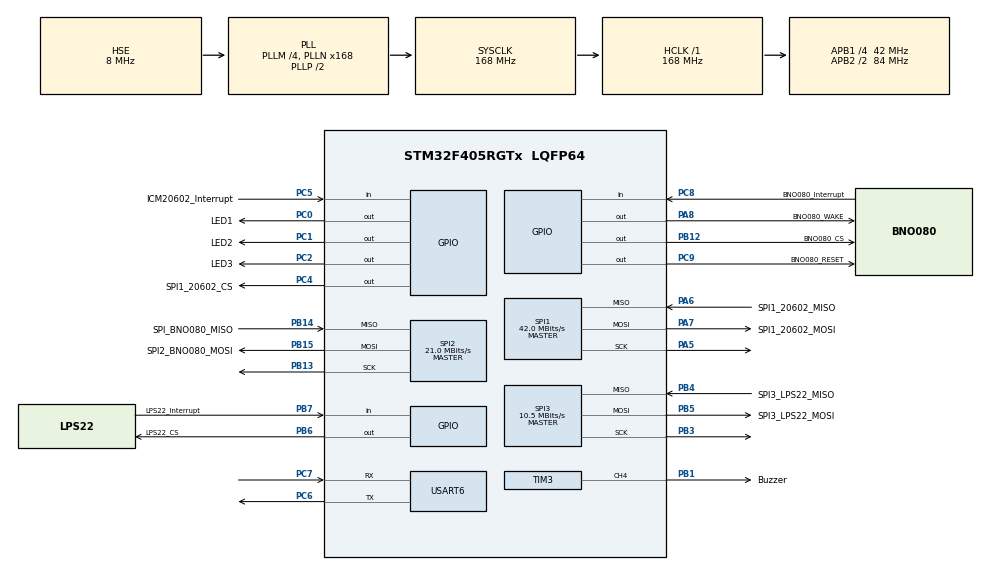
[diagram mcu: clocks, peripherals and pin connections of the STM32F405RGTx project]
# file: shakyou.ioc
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Mcu.Family=STM32F4
Mcu.Name=STM32F405RGTx
Mcu.Package=LQFP64
NVIC.PriorityGroup=NVIC_PRIORITYGROUP_4
NVIC.USART6_IRQn=true\:0\:0\:false\:false\:true\:true\:true\:true
PA5.Mode=Full_Duplex_Master
PA5.Signal=SPI1_SCK
PA6.GPIO_Label=SPI1_20602_MISO
PA6.Mode=Full_Duplex_Master
PA6.Signal=SPI1_MISO
PA7.GPIO_Label=SPI1_20602_MOSI
PA7.Mode=Full_Duplex_Master
PA7.Signal=SPI1_MOSI
PA8.GPIO_Label=BNO080_WAKE
PA8.Signal=GPIO_Output
PB1.GPIO_Label=Buzzer
PB1.Signal=S_TIM3_CH4
PB12.GPIO_Label=BNO080_CS
PB12.Signal=GPIO_Output
PB13.Mode=Full_Duplex_Master
PB13.Signal=SPI2_SCK
PB14.GPIO_Label=SPI_BNO080_MISO
PB14.Mode=Full_Duplex_Master
PB14.Signal=SPI2_MISO
PB15.GPIO_Label=SPI2_BNO080_MOSI
PB15.Mode=Full_Duplex_Master
PB15.Signal=SPI2_MOSI
PB3.Mode=Full_Duplex_Master
PB3.Signal=SPI3_SCK
PB4.GPIO_Label=SPI3_LPS22_MISO
PB4.Mode=Full_Duplex_Master
PB4.Signal=SPI3_MISO
PB5.GPIO_Label=SPI3_LPS22_MOSI
PB5.Mode=Full_Duplex_Master
PB5.Signal=SPI3_MOSI
PB6.GPIO_Label=LPS22_CS
PB6.Signal=GPIO_Output
PB7.GPIO_Label=LPS22_Interrupt
PB7.Signal=GPIO_Input
PC0.GPIO_Label=LED1
PC0.Signal=GPIO_Output
PC1.GPIO_Label=LED2
PC1.Signal=GPIO_Output
PC2.GPIO_Label=LED3
PC2.Signal=GPIO_Output
PC4.GPIO_Label=SPI1_20602_CS
PC4.Signal=GPIO_Output
PC5.GPIO_Label=ICM20602_Interrupt
PC5.Signal=GPIO_Input
PC6.Mode=Asynchronous
PC6.Signal=USART6_TX
PC7.Mode=Asynchronous
PC7.Signal=USART6_RX
PC8.GPIO_Label=BNO080_Interrupt
PC8.Signal=GPIO_Input
PC9.GPIO_Label=BNO080_RESET
PC9.Signal=GPIO_Output
PH0-OSC_IN.Mode=HSE-External-Oscillator
PH0-OSC_IN.Signal=RCC_OSC_IN
PH1-OSC_OUT.Mode=HSE-External-Oscillator
PH1-OSC_OUT.Signal=RCC_OSC_OUT
ProjectManager.HeapSize=0x200
ProjectManager.StackSize=0x400
ProjectManager.TargetToolchain=STM32CubeIDE
RCC.48MHZClocksFreq_Value=84000000
RCC.AHBFreq_Value=168000000
RCC.APB1CLKDivider=RCC_HCLK_DIV4
RCC.APB1Freq_Value=42000000
RCC.APB1TimFreq_Value=84000000
RCC.APB2CLKDivider=RCC_HCLK_DIV2
RCC.APB2Freq_Value=84000000
RCC.APB2TimFreq_Value=168000000
RCC.CortexFreq_Value=168000000
RCC.HCLKFreq_Value=168000000
RCC.HSE_VALUE=8000000
RCC.HSI_VALUE=16000000
RCC.LSE_VALUE=32768
RCC.PLLM=4
RCC.PLLN=168
RCC.PLLSourceVirtual=RCC_PLLSOURCE_HSE
RCC.SYSCLKFreq_VALUE=168000000
RCC.SYSCLKSource=RCC_SYSCLKSOURCE_PLLCLK
RCC.VCOOutputFreq_Value=336000000
SH.S_TIM3_CH4.0=TIM3_CH4,PWM Generation4 CH4
SPI1.CalculateBaudRate=42.0 MBits/s
SPI1.Direction=SPI_DIRECTION_2LINES
SPI1.Mode=SPI_MODE_MASTER
SPI1.VirtualType=VM_MASTER
SPI2.CalculateBaudRate=21.0 MBits/s
SPI2.Direction=SPI_DIRECTION_2LINES
SPI2.Mode=SPI_MODE_MASTER
SPI2.VirtualType=VM_MASTER
SPI3.BaudRatePrescaler=SPI_BAUDRATEPRESCALER_4
SPI3.CLKPhase=SPI_PHASE_2EDGE
SPI3.CLKPolarity=SPI_POLARITY_HIGH
SPI3.CalculateBaudRate=10.5 MBits/s
SPI3.Direction=SPI_DIRECTION_2LINES
SPI3.Mode=SPI_MODE_MASTER
SPI3.VirtualType=VM_MASTER
TIM3.Channel-PWM\ Generation4\ CH4=TIM_CHANNEL_4
TIM3.Period=20
TIM3.Prescaler=999
TIM3.Pulse-PWM\ Generation4\ CH4=10
USART6.VirtualMode=VM_ASYNC
VP_TIM3_VS_ClockSourceINT.Mode=Internal
board=custom

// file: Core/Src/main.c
/* USER CODE BEGIN Header */
/**
  ******************************************************************************
  * @file           : main.c
  * @brief          : Main program body
  ******************************************************************************
  * @attention
  *
  * Copyright (c) 2024 STMicroelectronics.
  * All rights reserved.
  *
  * This software is licensed under terms that can be found in the LICENSE file
  * in the root directory of this software component.
  * If no LICENSE file comes with this software, it is provided AS-IS.
  *
  ******************************************************************************
  */
/* USER CODE END Header */
#include "main.h"
#include "spi.h"
#include "tim.h"
#include "usart.h"
#include "gpio.h"

/* USER CODE BEGIN Includes */
#include "bno080.h"
#include "quaternion.h"

#include "ICM20602.h"

#include "LPS22HH.h"
/* USER CODE END Includes */

/* USER CODE BEGIN PV */
extern uint8_t uart6_rx_data;
extern uint8_t uart6_rx_flag;
/* USER CODE END PV */

void SystemClock_Config(void);

int main(void)
{
  /* USER CODE BEGIN 1 */
	//float q[4];
	//float quartRadianAccuracy;
  /* USER CODE END 1 */

  /* MCU Configuration--------------------------------------------------------*/

  /* Reset of all peripherals, Initializes the Flash interface and the Systick. */
  HAL_Init();

  /* Configure the system clock */
  SystemClock_Config();

  /* Initialize all configured peripherals */
  MX_GPIO_Init();
  MX_TIM3_Init();
  MX_USART6_UART_Init();
  MX_SPI2_Init();
  MX_SPI1_Init();
  MX_SPI3_Init();
  /* USER CODE BEGIN 2 */
  LL_TIM_EnableCounter(TIM3);
  LL_TIM_CC_EnableChannel(TIM3, LL_TIM_CHANNEL_CH4);

  TIM3->PSC = 2000; // 2kHz
  HAL_Delay(100);
  TIM3->PSC = 1500; // 3kHz
  HAL_Delay(100);
  TIM3->PSC = 1000; // 4kHz
  HAL_Delay(100);

  LL_TIM_CC_DisableChannel(TIM3, LL_TIM_CHANNEL_CH4);

  LL_USART_EnableIT_RXNE(USART6);

  BNO080_GPIO_SPI_Initialization();  // SPI2 Init
  BNO080_enableRotationVector(2500); // 400Hz

  ICM20602_GPIO_SPI_Initialization();

  LPS22HH_Initialization();
  /* USER CODE END 2 */

  /* Infinite loop */
  while (1)
  {

    /* USER CODE BEGIN 3 */
//	  if(BNO080_dataAvailable())
//	  {
//		  q[0] = BNO080_getQuatI();
//		  q[1] = BNO080_getQuatJ();
//		  q[2] = BNO080_getQuatK();
//		  q[3] = BNO080_getQuatReal();
//		  quartRadianAccuracy = BNO080_getQuatRadianAccuracy();
//
//		  Quaternion_Update(&q[0]);
//
//		  printf("%d,%d,%d\n", (int)(BNO080_Roll * 100), (int)(BNO080_Pitch * 100), (int)(BNO080_Yaw * 100));
//	  }
//	  if(ICM20602_DataReady())
//	  {
//		  ICM20602_Get3AxisGyroRawData(&ICM20602.gyro_x_raw);
//
//		  ICM20602.gyro_x = ICM20602.gyro_x_raw * 2000.f / 32768.f;
//		  ICM20602.gyro_y = ICM20602.gyro_y_raw * 2000.f / 32768.f;
//		  ICM20602.gyro_z = ICM20602.gyro_z_raw * 2000.f / 32768.f;
//	  }
	  if(LPS22HH_DataReady())
	  {
		  LPS22HH_GetPressure(&LPS22HH.pressure_raw);
		  LPS22HH_GetTemperature(&LPS22HH.temperature_raw);

		  LPS22HH.baroAlt = getAltitude2(LPS22HH.pressure_raw/4096.f,LPS22HH.temperature_raw/100.f);
#define X 0.90f
		  LPS22HH.baroAltFilt = LPS22HH.baroAltFilt * X + LPS22HH.baroAlt * (1.0f - X);
	  }
  }
  /* USER CODE END 3 */
}

void SystemClock_Config(void)
{
  RCC_OscInitTypeDef RCC_OscInitStruct = {0};
  RCC_ClkInitTypeDef RCC_ClkInitStruct = {0};

  /** Configure the main internal regulator output voltage
  */
  __HAL_RCC_PWR_CLK_ENABLE();
  __HAL_PWR_VOLTAGESCALING_CONFIG(PWR_REGULATOR_VOLTAGE_SCALE1);

  /** Initializes the RCC Oscillators according to the specified parameters
  * in the RCC_OscInitTypeDef structure.
  */
  RCC_OscInitStruct.OscillatorType = RCC_OSCILLATORTYPE_HSE;
  RCC_OscInitStruct.HSEState = RCC_HSE_ON;
  RCC_OscInitStruct.PLL.PLLState = RCC_PLL_ON;
  RCC_OscInitStruct.PLL.PLLSource = RCC_PLLSOURCE_HSE;
  RCC_OscInitStruct.PLL.PLLM = 4;
  RCC_OscInitStruct.PLL.PLLN = 168;
  RCC_OscInitStruct.PLL.PLLP = RCC_PLLP_DIV2;
  RCC_OscInitStruct.PLL.PLLQ = 4;
  if (HAL_RCC_OscConfig(&RCC_OscInitStruct) != HAL_OK)
  {
    Error_Handler();
  }

  /** Initializes the CPU, AHB and APB buses clocks
  */
  RCC_ClkInitStruct.ClockType = RCC_CLOCKTYPE_HCLK|RCC_CLOCKTYPE_SYSCLK
                              |RCC_CLOCKTYPE_PCLK1|RCC_CLOCKTYPE_PCLK2;
  RCC_ClkInitStruct.SYSCLKSource = RCC_SYSCLKSOURCE_PLLCLK;
  RCC_ClkInitStruct.AHBCLKDivider = RCC_SYSCLK_DIV1;
  RCC_ClkInitStruct.APB1CLKDivider = RCC_HCLK_DIV4;
  RCC_ClkInitStruct.APB2CLKDivider = RCC_HCLK_DIV2;

  if (HAL_RCC_ClockConfig(&RCC_ClkInitStruct, FLASH_LATENCY_5) != HAL_OK)
  {
    Error_Handler();
  }
}

void Error_Handler(void)
{
  __disable_irq();
  while (1)
  {
  }
}
